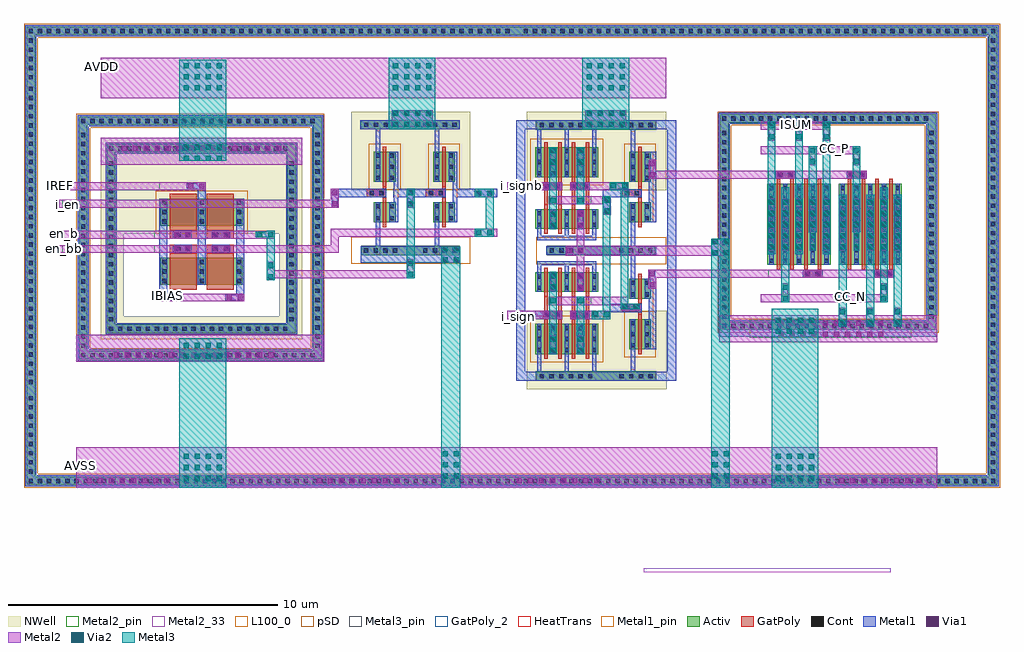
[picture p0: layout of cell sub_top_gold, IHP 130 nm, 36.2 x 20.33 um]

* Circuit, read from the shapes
.subckt sub_top_gold AVDD AVSS CC_N CC_P IBIAS IREF ISUM en_b en_bb i_en i_sign i_signb
XM1 IREF en_bb IBIAS AVSS sg13_lv_nmos w=1u l=1u m=2
XM2 en_b i_en AVSS AVSS sg13_lv_nmos w=0.74u l=0.13u
XM3 en_bb en_b AVSS AVSS sg13_lv_nmos w=0.74u l=0.13u
XM4 non_overlap_gold_25/xa i_sign n1 AVSS sg13_lv_nmos w=0.72u l=0.13u m=2
XM5 non_overlap_gold_25/xb i_signb n2 AVSS sg13_lv_nmos w=0.72u l=0.13u m=2
XM6 AVSS non_overlap_gold_25/xb n1 AVSS sg13_lv_nmos w=0.72u l=0.13u m=2
XM7 AVSS non_overlap_gold_25/xa n2 AVSS sg13_lv_nmos w=0.72u l=0.13u m=2
XM8 n3 non_overlap_gold_25/xa AVSS AVSS sg13_lv_nmos w=0.74u l=0.13u
XM9 n4 non_overlap_gold_25/xb AVSS AVSS sg13_lv_nmos w=0.74u l=0.13u
XM10 CC_N n4 ISUM AVSS sg13_lv_nmos w=3u l=0.13u m=2
XM11 CC_P n3 ISUM AVSS sg13_lv_nmos w=3u l=0.13u m=2
XM12 CC_P n4 AVSS AVSS sg13_lv_nmos w=3u l=0.13u m=2
XM13 CC_N n3 AVSS AVSS sg13_lv_nmos w=3u l=0.13u m=2
XM14 IREF en_b IBIAS AVDD sg13_lv_pmos w=1u l=1u m=2
XM15 en_b i_en AVDD AVDD sg13_lv_pmos w=1.12u l=0.13u
XM16 en_bb en_b AVDD AVDD sg13_lv_pmos w=1.12u l=0.13u
XM17 non_overlap_gold_25/xa i_sign AVDD AVDD sg13_lv_pmos w=1.12u l=0.13u m=2
XM18 non_overlap_gold_25/xb i_signb AVDD AVDD sg13_lv_pmos w=1.12u l=0.13u m=2
XM19 non_overlap_gold_25/xa non_overlap_gold_25/xb AVDD AVDD sg13_lv_pmos w=1.12u l=0.13u m=2
XM20 non_overlap_gold_25/xb non_overlap_gold_25/xa AVDD AVDD sg13_lv_pmos w=1.12u l=0.13u m=2
XM21 n3 non_overlap_gold_25/xa AVDD AVDD sg13_lv_pmos w=1.12u l=0.13u
XM22 n4 non_overlap_gold_25/xb AVDD AVDD sg13_lv_pmos w=1.12u l=0.13u
.ends

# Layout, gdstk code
from math import pi, radians
import gdstk
lib = gdstk.Library(unit=1e-6, precision=1e-09)
def R(c, l, rs):  # rectangles x0, y0, x1, y1
    for r in rs: c.add(gdstk.rectangle(r[:2], r[2:], *l))
def A(c, l, x, y, w, h, nx, ny, dx, dy):  # array of equal rectangles
    R(c, l, [(x+i*dx, y+j*dy, x+i*dx+w, y+j*dy+h) for i in range(nx) for j in range(ny)])
def P(c, l, *ps):  # polygons
    for p in ps: c.add(gdstk.Polygon(p, *l))
Activ = (1, 0)
GatPoly = (5, 0)
GatPoly_2 = (5, 2)
Cont = (6, 0)
Metal1 = (8, 0)
Metal1_pin = (8, 2)
Metal2 = (10, 0)
Metal2_pin = (10, 2)
Metal2_33 = (10, 33)
pSD = (14, 0)
Via1 = (19, 0)
Via2 = (29, 0)
Metal3 = (30, 0)
Metal3_pin = (30, 2)
NWell = (31, 0)
HeatTrans = (51, 0)
L100_0 = (100, 0)

via_stack_6 = lib.new_cell('via_stack$6')
R(via_stack_6, Metal2, [(-0.1,-0.35,0.1,0.35)])
R(via_stack_6, Via2, [(-0.095,-0.3,0.095,-0.11), (-0.095,0.11,0.095,0.3)])
R(via_stack_6, Metal3, [(-0.1,-0.35,0.1,0.35)])

via_stack_14 = lib.new_cell('via_stack$14')
R(via_stack_14, Metal1, [(-0.105,-0.35,0.105,0.35)])
R(via_stack_14, Metal2, [(-0.1,-0.35,0.1,0.35)])
R(via_stack_14, Via1, [(-0.095,-0.3,0.095,-0.11), (-0.095,0.11,0.095,0.3)])
R(via_stack_14, Via2, [(-0.095,-0.3,0.095,-0.11), (-0.095,0.11,0.095,0.3)])
R(via_stack_14, Metal3, [(-0.1,-0.35,0.1,0.35)])

via_stack_5 = lib.new_cell('via_stack$5')
R(via_stack_5, Metal2, [(-0.35,-0.1,0.35,0.1)])
R(via_stack_5, Via2, [(-0.3,-0.095,-0.11,0.095), (0.11,-0.095,0.3,0.095)])
R(via_stack_5, Metal3, [(-0.35,-0.1,0.35,0.1)])

via_stack_21 = lib.new_cell('via_stack$21')
R(via_stack_21, Metal2, [(-0.305,-0.555,0.305,0.555)])
A(via_stack_21, Via2, -0.3, -0.505, 0.19, 0.19, 1, 3, 0, 0.41)
A(via_stack_21, Via2, 0.11, -0.505, 0.19, 0.19, 1, 3, 0, 0.41)
R(via_stack_21, Metal3, [(-0.305,-0.555,0.305,0.555)])

via_stack_18 = lib.new_cell('via_stack$18')
R(via_stack_18, Metal1, [(-0.35,-0.105,0.35,0.105)])
R(via_stack_18, Metal2, [(-0.35,-0.1,0.35,0.1)])
R(via_stack_18, Via1, [(-0.3,-0.095,-0.11,0.095), (0.11,-0.095,0.3,0.095)])
R(via_stack_18, Via2, [(-0.3,-0.095,-0.11,0.095), (0.11,-0.095,0.3,0.095)])
R(via_stack_18, Metal3, [(-0.35,-0.1,0.35,0.1)])

via_stack_1 = lib.new_cell('via_stack$1')
R(via_stack_1, Metal1, [(-3.015,-0.105,3.015,0.105)])
R(via_stack_1, Metal2, [(-3.015,-0.1,3.015,0.1)])
A(via_stack_1, Via1, -2.965, -0.095, 0.19, 0.19, 15, 1, 0.41, 0)

via_stack_2 = lib.new_cell('via_stack$2')
R(via_stack_2, Metal1, [(-0.35,-0.105,0.35,0.105)])
R(via_stack_2, Metal2, [(-0.35,-0.1,0.35,0.1)])
R(via_stack_2, Via1, [(-0.3,-0.095,-0.11,0.095), (0.11,-0.095,0.3,0.095)])

pmos = lib.new_cell('pmos')
R(pmos, Activ, [(0,0,0.3,0.3), (0,0,1.68,1), (1.38,0,1.68,0.3)])
R(pmos, GatPoly, [(0.34,-0.18,1.34,1.18), (0.34,-0.18,1.34,1.18)])
A(pmos, Cont, 0.07, 0.07, 0.16, 0.16, 1, 3, 0, 0.35)
A(pmos, Cont, 1.45, 0.07, 0.16, 0.16, 1, 3, 0, 0.35)
R(pmos, Metal1, [(0.07,0,0.23,1), (0.07,0,0.23,1), (1.45,0,1.61,1), (1.45,0,1.61,1)])
R(pmos, pSD, [(-0.18,-0.3,1.86,1.3)])
R(pmos, NWell, [(-0.31,-0.31,1.99,1.31)])
R(pmos, HeatTrans, [(0.34,-0.18,1.34,1.18)])
pmos.add(gdstk.Label('pmos', (0.84,0.5), layer=63, texttype=0))
pmos.add(gdstk.Label('pmos', (0.84,0.5), layer=51, texttype=0))

nmos = lib.new_cell('nmos')
R(nmos, Activ, [(0,0,0.3,0.3), (0,0,1.68,1), (1.38,0,1.68,0.3)])
R(nmos, GatPoly, [(0.34,-0.18,1.34,1.18)])
R(nmos, GatPoly_2, [(0.34,-0.18,1.34,1.18)])
A(nmos, Cont, 0.07, 0.07, 0.16, 0.16, 1, 3, 0, 0.35)
A(nmos, Cont, 1.45, 0.07, 0.16, 0.16, 1, 3, 0, 0.35)
R(nmos, Metal1, [(0.07,0,0.23,1), (1.45,0,1.61,1)])
R(nmos, Metal1_pin, [(0.07,0,0.23,1), (1.45,0,1.61,1)])
R(nmos, HeatTrans, [(0.34,-0.18,1.34,1.18)])
nmos.add(gdstk.Label('nmos', (0.84,0.5), layer=63, texttype=0))
nmos.add(gdstk.Label('nmos', (0.84,0.5), layer=51, texttype=0))

tgate_gold = lib.new_cell('tgate_gold')
P(tgate_gold, Activ, [(-7.265,-36.38),(-7.265,-27.69),(-6.955,-27.69),(-6.955,-36.07),(1.425,-36.07),(1.425,-27.69),(-7.265,-27.69),(-7.265,-27.38),(1.735,-27.38),(1.735,-36.38)],
  [(-6.23,-35.4),(-6.23,-28.71),(-5.92,-28.71),(-5.92,-35.09),(0.46,-35.09),(0.46,-28.71),(-6.23,-28.71),(-6.23,-28.4),(0.77,-28.4),(0.77,-35.4)])
R(tgate_gold, GatPoly, [(-3.91,-32.445,-2.91,-32.135), (-2.53,-32.445,-1.53,-32.135), (-3.91,-31.915,-2.91,-31.605), (-2.53,-31.915,-1.53,-31.605)])
A(tgate_gold, Cont, -7.195, -36.31, 0.16, 0.16, 26, 2, 0.34, 8.69)
A(tgate_gold, Cont, -7.195, -35.96, 0.16, 0.16, 1, 24, 0, 0.34)
A(tgate_gold, Cont, 1.495, -35.96, 0.16, 0.16, 1, 24, 0, 0.34)
A(tgate_gold, Cont, -6.16, -35.33, 0.16, 0.16, 20, 2, 0.34, 6.69)
A(tgate_gold, Cont, -6.16, -34.98, 0.16, 0.16, 1, 18, 0, 0.34)
A(tgate_gold, Cont, 0.53, -34.98, 0.16, 0.16, 1, 18, 0, 0.34)
R(tgate_gold, Cont, [(-3.665,-32.37,-3.505,-32.21), (-3.665,-32.37,-3.505,-32.21), (-3.305,-32.37,-3.145,-32.21), (-3.305,-32.37,-3.145,-32.21), (-2.265,-32.37,-2.105,-32.21), (-2.265,-32.37,-2.105,-32.21), (-1.905,-32.37,-1.745,-32.21), (-1.905,-32.37,-1.745,-32.21), (-3.665,-31.84,-3.505,-31.68), (-3.665,-31.84,-3.505,-31.68), (-3.305,-31.84,-3.145,-31.68), (-3.305,-31.84,-3.145,-31.68), (-2.265,-31.84,-2.105,-31.68), (-2.265,-31.84,-2.105,-31.68), (-1.905,-31.84,-1.745,-31.68), (-1.905,-31.84,-1.745,-31.68)])
R(tgate_gold, Metal1, [(-3.72,-32.445,-3.09,-32.135), (-2.32,-32.445,-1.69,-32.135), (-3.72,-31.915,-3.09,-31.605), (-2.32,-31.915,-1.69,-31.605)])
P(tgate_gold, Metal1, [(-7.315,-36.43),(-7.315,-27.74),(-6.905,-27.74),(-6.905,-36.02),(1.375,-36.02),(1.375,-27.74),(-7.315,-27.74),(-7.315,-27.33),(1.785,-27.33),(1.785,-36.43)],
  [(-6.28,-35.45),(-6.28,-28.76),(-5.87,-28.76),(-5.87,-35.04),(0.41,-35.04),(0.41,-28.76),(-6.28,-28.76),(-6.28,-28.35),(0.82,-28.35),(0.82,-35.45)])
R(tgate_gold, Metal2_pin, [(-7.365,-36.48,1.835,-35.48), (-4.295,-34.235,-1.145,-33.945), (-3.725,-34.235,-3.355,-33.945), (-4.78,-32.435,-4.46,-32.145), (-4.78,-31.905,-4.46,-31.615), (-4.295,-30.105,-2.575,-29.815), (-4.26,-30.105,-3.875,-29.815), (-6.47,-29.16,1.01,-28.16)])
P(tgate_gold, pSD, [(-7.365,-36.48),(-7.365,-27.79),(-6.855,-27.79),(-6.855,-35.97),(1.325,-35.97),(1.325,-27.79),(-7.365,-27.79),(-7.365,-27.28),(1.835,-27.28),(1.835,-36.48)])
R(tgate_gold, NWell, [(-6.47,-35.64,-5.61,-28.16), (-6.47,-35.64,1.01,-34.78), (0.15,-35.64,1.01,-28.16), (-6.47,-31.735,1.01,-28.16)])
P(tgate_gold, NWell, [(-6.47,-35.64),(-6.47,-28.95),(-5.68,-28.95),(-5.68,-34.85),(0.22,-34.85),(0.22,-28.95),(-6.47,-28.95),(-6.47,-28.16),(1.01,-28.16),(1.01,-35.64)])
tgate_gold.add(gdstk.FlexPath([(-4.15,-30.425),(-4.15,-34.235)], 0.29, ends="flush", simple_path=True, layer=8, datatype=0))  # Metal1
tgate_gold.add(gdstk.FlexPath([(-2.72,-29.815),(-2.72,-33.625)], 0.29, ends="flush", simple_path=True, layer=8, datatype=0))  # Metal1
tgate_gold.add(gdstk.FlexPath([(-1.29,-30.425),(-1.29,-34.235)], 0.29, ends="flush", simple_path=True, layer=8, datatype=0))  # Metal1
tgate_gold.add(gdstk.FlexPath([(-1.145,-34.09),(-4.295,-34.09)], 0.29, ends="flush", simple_path=True, layer=10, datatype=0))  # Metal2
tgate_gold.add(gdstk.FlexPath([(-1.655,-31.76),(-4.78,-31.76)], 0.29, ends="flush", simple_path=True, layer=10, datatype=0))  # Metal2
tgate_gold.add(gdstk.FlexPath([(-2.575,-29.96),(-4.295,-29.96)], 0.29, ends="flush", simple_path=True, layer=10, datatype=0))  # Metal2
tgate_gold.add(gdstk.FlexPath([(-1.655,-32.29),(-4.78,-32.29)], 0.29, ends="flush", simple_path=True, layer=10, datatype=0))  # Metal2
tgate_gold.add(gdstk.FlexPath([(-6.47,-28.66),(1.01,-28.66)], 1, ends="flush", simple_path=True, layer=10, datatype=0))  # Metal2
tgate_gold.add(gdstk.FlexPath([(-7.365,-35.98),(1.835,-35.98)], 1, ends="flush", simple_path=True, layer=10, datatype=0))  # Metal2
tgate_gold.add(gdstk.Reference(via_stack_1, (-2.725,-28.555)))
tgate_gold.add(gdstk.Reference(via_stack_2, (-2.925,-29.96)))
tgate_gold.add(gdstk.Reference(via_stack_2, (-3.435,-32.29)))
tgate_gold.add(gdstk.Reference(via_stack_2, (-3.435,-31.76)))
tgate_gold.add(gdstk.Reference(via_stack_2, (-2.005,-32.29)))
tgate_gold.add(gdstk.Reference(via_stack_2, (-2.005,-31.76)))
tgate_gold.add(gdstk.Reference(pmos, (-2.87,-31.425)))
tgate_gold.add(gdstk.Reference(nmos, (-4.25,-33.625)))
tgate_gold.add(gdstk.Reference(via_stack_2, (-3.945,-34.09)))
tgate_gold.add(gdstk.Reference(nmos, (-2.87,-33.625)))
tgate_gold.add(gdstk.Reference(pmos, (-4.25,-31.425)))
tgate_gold.add(gdstk.Reference(via_stack_2, (-1.495,-34.09)))
tgate_gold.add(gdstk.Reference(via_stack_1, (-3.02,-36.225)))
tgate_gold.add(gdstk.Label('AVDD', (-6.365,-28.275), layer=10, texttype=25))
tgate_gold.add(gdstk.Label('IBIAS', (-3.525,-34.195), layer=10, texttype=25))
tgate_gold.add(gdstk.Label('AVSS', (-5.975,-35.77), layer=10, texttype=25))
tgate_gold.add(gdstk.Label('IREF', (-4.23,-29.92), layer=10, texttype=25))

via_stack_9 = lib.new_cell('via_stack$9')
R(via_stack_9, Metal1, [(-0.105,-0.35,0.105,0.35)])
R(via_stack_9, Metal2, [(-0.1,-0.35,0.1,0.35)])
R(via_stack_9, Via1, [(-0.095,-0.3,0.095,-0.11), (-0.095,0.11,0.095,0.3)])

via_stack = lib.new_cell('via_stack')
R(via_stack, Metal1, [(-1.58,-0.105,1.58,0.105)])
R(via_stack, Metal2, [(-1.58,-0.1,1.58,0.1)])
A(via_stack, Via1, -1.53, -0.095, 0.19, 0.19, 8, 1, 0.41, 0)

via_stack_10 = lib.new_cell('via_stack$10')
R(via_stack_10, Metal1, [(-0.76,-0.31,0.76,0.31)])
R(via_stack_10, Metal2, [(-0.76,-0.305,0.76,0.305)])
A(via_stack_10, Via1, -0.71, -0.3, 0.19, 0.19, 4, 2, 0.41, 0.41)
A(via_stack_10, Via2, -0.71, -0.3, 0.19, 0.19, 4, 2, 0.41, 0.41)
R(via_stack_10, Metal3, [(-0.76,-0.305,0.76,0.305)])

via_stack_11 = lib.new_cell('via_stack$11')
R(via_stack_11, Metal2, [(-0.76,-0.51,0.76,0.51)])
A(via_stack_11, Via2, -0.71, -0.505, 0.19, 0.19, 4, 3, 0.41, 0.41)
R(via_stack_11, Metal3, [(-0.76,-0.51,0.76,0.51)])

via_stack_16 = lib.new_cell('via_stack$16')
R(via_stack_16, Metal2, [(-0.76,-0.305,0.76,0.305)])
A(via_stack_16, Via2, -0.71, -0.3, 0.19, 0.19, 4, 2, 0.41, 0.41)
R(via_stack_16, Metal3, [(-0.76,-0.305,0.76,0.305)])

via_stack_20 = lib.new_cell('via_stack$20')
R(via_stack_20, Metal2, [(-0.145,-0.1,0.145,0.1)])
R(via_stack_20, Via2, [(-0.095,-0.095,0.095,0.095)])
R(via_stack_20, Metal3, [(-0.145,-0.1,0.145,0.1)])

nmos_3 = lib.new_cell('nmos$3')
A(nmos_3, Activ, 0, 0, 0.3, 0.3, 3, 1, 0.51, 0)
R(nmos_3, Activ, [(0,0,1.32,0.72)])
R(nmos_3, GatPoly, [(0.34,-0.18,0.47,0.9), (0.85,-0.18,0.98,0.9)])
R(nmos_3, GatPoly_2, [(0.34,-0.18,0.47,0.9)])
A(nmos_3, Cont, 0.07, 0.07, 0.16, 0.16, 3, 2, 0.51, 0.42)
A(nmos_3, Metal1, 0.07, 0, 0.16, 0.72, 3, 1, 0.51, 0)
R(nmos_3, Metal1_pin, [(0.07,0,0.23,0.72), (0.58,0,0.74,0.72)])
R(nmos_3, HeatTrans, [(0.34,-0.18,0.47,0.9), (0.85,-0.18,0.98,0.9)])
nmos_3.add(gdstk.Label('nmos', (0.405,0.36), layer=63, texttype=0))
nmos_3.add(gdstk.Label('nmos', (0.405,0.36), layer=51, texttype=0))
nmos_3.add(gdstk.Label('nmos', (0.915,0.36), layer=51, texttype=0))

pmos_1 = lib.new_cell('pmos$1')
A(pmos_1, Activ, 0, 0, 0.3, 0.3, 3, 1, 0.51, 0)
R(pmos_1, Activ, [(0,0,1.32,1.12)])
R(pmos_1, GatPoly, [(0.34,-0.18,0.47,1.3), (0.34,-0.18,0.47,1.3), (0.85,-0.18,0.98,1.3)])
A(pmos_1, Cont, 0.07, 0.07, 0.16, 0.16, 3, 3, 0.51, 0.41)
R(pmos_1, Metal1, [(0.07,0,0.23,1.12), (0.07,0,0.23,1.12), (0.58,0,0.74,1.12), (0.58,0,0.74,1.12), (1.09,0,1.25,1.12)])
R(pmos_1, pSD, [(-0.18,-0.3,1.5,1.42)])
R(pmos_1, NWell, [(-0.31,-0.31,1.63,1.43)])
R(pmos_1, HeatTrans, [(0.34,-0.18,0.47,1.3), (0.85,-0.18,0.98,1.3)])
pmos_1.add(gdstk.Label('pmos', (0.405,0.56), layer=63, texttype=0))
pmos_1.add(gdstk.Label('pmos', (0.405,0.56), layer=51, texttype=0))
pmos_1.add(gdstk.Label('pmos', (0.915,0.56), layer=51, texttype=0))

nand = lib.new_cell('nand')
R(nand, Activ, [(-0.015,-2.86,1.435,-2.51), (-0.425,1.8,1.83,2.15)])
R(nand, GatPoly, [(-0.165,-0.455,0.205,-0.145), (0.195,-0.455,0.565,-0.145), (0.855,-0.455,1.225,-0.145), (1.215,-0.455,1.585,-0.145)])
A(nand, Cont, 0.09, -2.765, 0.16, 0.16, 4, 1, 0.36, 0)
A(nand, Cont, -0.28, 1.895, 0.16, 0.16, 6, 1, 0.36, 0)
R(nand, Cont, [(-0.06,-0.38,0.1,-0.22), (0.3,-0.38,0.46,-0.22), (0.96,-0.38,1.12,-0.22), (1.32,-0.38,1.48,-0.22)])
R(nand, Metal1, [(-0.03,-2.845,1.45,-2.525), (-0.165,-0.455,0.205,-0.145), (0.195,-0.455,0.565,-0.145), (0.855,-0.455,1.225,-0.145), (1.215,-0.455,1.585,-0.145), (-0.4,1.815,1.825,2.135)])
R(nand, Metal1_pin, [(-0.03,-2.845,1.45,-2.525), (-0.45,-0.455,0.565,-0.145), (-0.4,1.815,1.825,2.135)])
R(nand, Metal2, [(1.09,-2.82,1.38,-1.185), (0.68,-2.815,1.38,-2.57), (0.115,-1.895,0.34,-1.195), (0.1,0.455,0.325,1.155), (1.125,0.455,1.35,1.155)])
R(nand, Metal2_pin, [(1.62,-0.975,2.07,-0.665), (0.87,-0.395,1.57,-0.195)])
A(nand, pSD, -0.38, -3.185, 1.13, 1, 4, 1, 0.36, 0)
R(nand, NWell, [(-0.755,1.465,2.205,2.465)])
nand.add(gdstk.FlexPath([(-0.375,-2.215),(1.825,-2.215)], 0.16, ends="flush", simple_path=True, layer=8, datatype=0))  # Metal1
nand.add(gdstk.FlexPath([(1.745,-1.875),(1.745,-2.295)], 0.16, ends="flush", simple_path=True, layer=8, datatype=0))  # Metal1
nand.add(gdstk.FlexPath([(0.725,-1.875),(0.725,-2.295)], 0.16, ends="flush", simple_path=True, layer=8, datatype=0))  # Metal1
nand.add(gdstk.FlexPath([(-0.295,-1.875),(-0.295,-2.295)], 0.16, ends="flush", simple_path=True, layer=8, datatype=0))  # Metal1
nand.add(gdstk.FlexPath([(0.565,-0.3),(-0.45,-0.3)], 0.31, ends="flush", simple_path=True, layer=8, datatype=0))  # Metal1
nand.add(gdstk.FlexPath([(-0.295,0.035),(-0.295,2.135)], 0.16, ends="flush", simple_path=True, layer=8, datatype=0))  # Metal1
nand.add(gdstk.FlexPath([(0.725,0.035),(0.725,2.135)], 0.16, ends="flush", simple_path=True, layer=8, datatype=0))  # Metal1
nand.add(gdstk.FlexPath([(1.745,0.035),(1.745,2.135)], 0.16, ends="flush", simple_path=True, layer=8, datatype=0))  # Metal1
nand.add(gdstk.FlexPath([(2.07,-0.82),(0.065,-0.82)], 0.31, ends="flush", simple_path=True, layer=10, datatype=0))  # Metal2
nand.add(gdstk.FlexPath([(0.215,1.155),(0.215,-0.975)], 0.29, ends="flush", simple_path=True, layer=30, datatype=0))  # Metal3
nand.add(gdstk.FlexPath([(1.235,1.155),(1.235,-0.975)], 0.29, ends="flush", simple_path=True, layer=30, datatype=0))  # Metal3
nand.add(gdstk.FlexPath([(0.215,-1.875),(0.215,-0.665)], 0.29, ends="flush", simple_path=True, layer=30, datatype=0))  # Metal3
nand.add(gdstk.FlexPath([(-0.04,-0.975),(-0.04,-0.445)], 0.13, ends="flush", simple_path=True, layer=5, datatype=0))  # GatPoly
nand.add(gdstk.FlexPath([(0.47,-0.975),(0.47,-0.455)], 0.13, ends="flush", simple_path=True, layer=5, datatype=0))  # GatPoly
nand.add(gdstk.FlexPath([(0.98,-0.975),(0.98,-0.445)], 0.13, ends="flush", simple_path=True, layer=5, datatype=0))  # GatPoly
nand.add(gdstk.FlexPath([(1.49,-0.975),(1.49,-0.455)], 0.13, ends="flush", simple_path=True, layer=5, datatype=0))  # GatPoly
nand.add(gdstk.Reference(via_stack_9, (1.235,-1.535)))
nand.add(gdstk.Reference(via_stack_14, (0.23,-1.545)))
nand.add(gdstk.Reference(via_stack_20, (0.215,-0.82)))
nand.add(gdstk.Reference(via_stack_20, (1.235,-0.82)))
nand.add(gdstk.Reference(via_stack_14, (1.235,0.805)))
nand.add(gdstk.Reference(via_stack_14, (0.215,0.805)))
nand.add(gdstk.Reference(nmos_3, (0.575,-1.875)))
nand.add(gdstk.Reference(pmos_1, (0.575,0.035)))
nand.add(gdstk.Reference(nmos_3, (-0.445,-1.875)))
nand.add(gdstk.Reference(pmos_1, (-0.445,0.035)))
nand.add(gdstk.Reference(pmos_1, (-0.445,0.035)))
nand.add(gdstk.Reference(via_stack_9, (1.03,-2.685), rotation=pi/2))
nand.add(gdstk.Reference(via_stack_9, (1.22,-0.295), rotation=pi/2))

pmos_2 = lib.new_cell('pmos$2')
R(pmos_2, Activ, [(0,0,0.3,0.3), (0,0,0.81,1.12), (0.51,0,0.81,0.3)])
R(pmos_2, GatPoly, [(0.34,-0.18,0.47,1.3), (0.34,-0.18,0.47,1.3)])
A(pmos_2, Cont, 0.07, 0.07, 0.16, 0.16, 1, 3, 0, 0.41)
A(pmos_2, Cont, 0.58, 0.07, 0.16, 0.16, 1, 3, 0, 0.41)
R(pmos_2, Metal1, [(0.07,0,0.23,1.12), (0.07,0,0.23,1.12), (0.58,0,0.74,1.12), (0.58,0,0.74,1.12)])
R(pmos_2, pSD, [(-0.18,-0.3,0.99,1.42)])
R(pmos_2, NWell, [(-0.31,-0.31,1.12,1.43)])
R(pmos_2, HeatTrans, [(0.34,-0.18,0.47,1.3)])
pmos_2.add(gdstk.Label('pmos', (0.405,0.56), layer=63, texttype=0))
pmos_2.add(gdstk.Label('pmos', (0.405,0.56), layer=51, texttype=0))

nmos_4 = lib.new_cell('nmos$4')
R(nmos_4, Activ, [(0,0,0.3,0.3), (0,0,0.81,0.74), (0.51,0,0.81,0.3)])
R(nmos_4, GatPoly, [(0.34,-0.18,0.47,0.92)])
R(nmos_4, GatPoly_2, [(0.34,-0.18,0.47,0.92)])
R(nmos_4, Cont, [(0.07,0.07,0.23,0.23), (0.58,0.07,0.74,0.23), (0.07,0.51,0.23,0.67), (0.58,0.51,0.74,0.67)])
R(nmos_4, Metal1, [(0.07,0,0.23,0.74), (0.58,0,0.74,0.74)])
R(nmos_4, Metal1_pin, [(0.07,0,0.23,0.74), (0.58,0,0.74,0.74)])
R(nmos_4, HeatTrans, [(0.34,-0.18,0.47,0.92)])
nmos_4.add(gdstk.Label('nmos', (0.405,0.37), layer=63, texttype=0))
nmos_4.add(gdstk.Label('nmos', (0.405,0.37), layer=51, texttype=0))

inverter = lib.new_cell('inverter')
R(inverter, Activ, [(0.525,-1.72,1.975,-1.37), (0.535,2.94,1.985,3.29), (0.535,2.94,1.985,3.29)])
R(inverter, GatPoly, [(0.74,0.425,1.47,0.735)])
R(inverter, GatPoly_2, [(1.34,-0.68,1.47,2.3)])
A(inverter, Cont, 0.63, -1.625, 0.16, 0.16, 4, 1, 0.36, 0)
R(inverter, Cont, [(0.845,0.5,1.005,0.66), (1.205,0.5,1.365,0.66), (0.64,3.035,0.8,3.195), (0.64,3.035,0.8,3.195), (1,3.035,1.16,3.195), (1,3.035,1.16,3.195), (1.36,3.035,1.52,3.195), (1.36,3.035,1.52,3.195), (1.72,3.035,1.88,3.195), (1.72,3.035,1.88,3.195)])
R(inverter, Metal1, [(0.525,-1.705,2.005,-1.385), (1.74,-0.5,1.9,2.12), (0.74,0.425,1.47,0.735), (1.07,2.88,1.23,3.275), (1.07,2.88,1.23,3.275), (0.52,2.955,2,3.275), (0.52,2.955,2,3.275)])
R(inverter, Metal1_pin, [(1.07,-1.695,1.23,0.24), (1.74,-0.5,1.9,2.12), (1.74,-0.5,1.9,2.12), (0.74,0.425,1.47,0.735), (1.07,1,1.23,2.885)])
R(inverter, pSD, [(0.17,-2.045,2.38,-1.045)])
R(inverter, NWell, [(0.165,0.69,2.375,3.605)])
R(inverter, L100_0, [(1.069,-0.431,1.231,-0.269), (1.069,-0.431,1.231,-0.269), (1.579,-0.431,1.741,-0.269), (1.579,-0.431,1.741,-0.269), (1.069,0.009,1.231,0.171), (1.069,0.009,1.231,0.171), (1.579,0.009,1.741,0.171), (1.579,0.009,1.741,0.171), (1.069,1.069,1.231,1.231), (1.069,1.069,1.231,1.231), (1.579,1.069,1.741,1.231), (1.579,1.069,1.741,1.231), (1.069,1.479,1.231,1.641), (1.069,1.479,1.231,1.641), (1.579,1.479,1.741,1.641), (1.579,1.479,1.741,1.641), (1.069,1.889,1.231,2.051), (1.069,1.889,1.231,2.051), (1.579,1.889,1.741,2.051), (1.579,1.889,1.741,2.051)])
inverter.add(gdstk.FlexPath([(1.15,0.24),(1.15,-1.695)], 0.16, ends="flush", simple_path=True, layer=8, datatype=0))  # Metal1
inverter.add(gdstk.FlexPath([(1.15,2.885),(1.15,2.12)], 0.16, ends="flush", simple_path=True, layer=8, datatype=0))  # Metal1
inverter.add(gdstk.FlexPath([(1.405,0.42),(1.405,0.825)], 0.13, ends="flush", simple_path=True, layer=5, datatype=0))  # GatPoly
inverter.add(gdstk.Reference(pmos_2, (1,1)))
inverter.add(gdstk.Reference(nmos_4, (1,-0.5)))

non_overlap_gold = lib.new_cell('non_overlap_gold')
R(non_overlap_gold, Activ, [(-0.425,-7.52,4.045,-7.17), (-0.015,-2.86,4.01,-2.51), (-0.425,1.8,4.045,2.15)])
R(non_overlap_gold, Metal1, [(-0.4,-7.515,4.035,-7.185), (-0.03,-2.845,4.04,-2.525), (0.125,-1.895,0.335,-1.155), (1.13,-1.895,1.34,-1.155), (2.07,-1.365,2.35,-0.405), (0.11,0.035,0.32,1.155), (1.13,0.035,1.34,1.155), (-0.4,1.82,4.035,2.145)])
R(non_overlap_gold, Metal1_pin, [(-0.4,-7.515,4.035,-7.185), (-0.4,-5.225,0.5,-4.915), (3.615,-4.47,3.935,-3.73), (3.655,-4.415,3.89,-3.78), (-0.03,-2.845,4.04,-2.525), (3.615,-1.64,3.93,-0.9), (3.66,-1.595,3.895,-0.97), (-0.4,-0.455,0.5,-0.145), (-0.4,1.82,4.035,2.145)])
R(non_overlap_gold, Metal2, [(0.855,-5.225,2.345,-4.915), (2.725,-4.9,3.425,-4.655), (2.725,-4.86,3.015,-4.395), (0.065,-4.705,2.605,-4.395), (0.065,-4.705,3.015,-4.395), (2.055,-1.365,2.345,-0.665), (2.085,-1.365,2.31,-0.665), (0.855,-0.455,2.605,-0.145)])
R(non_overlap_gold, pSD, [(-0.41,-3.185,4.415,-2.185)])
R(non_overlap_gold, Metal3, [(0.07,-6.525,0.36,-3.475), (1.645,-5.225,2.345,-4.915), (2.055,-5.225,2.345,-0.665), (2.055,-5.225,2.345,-0.665), (2.725,-4.705,3.015,-0.145), (0.07,-1.895,0.36,1.155), (2.315,-0.455,3.015,-0.145)])
R(non_overlap_gold, NWell, [(-0.755,-7.835,4.41,-4.925), (-0.725,-7.835,4.44,-4.925), (-0.755,-0.445,4.41,2.465), (-0.755,-0.445,4.41,2.465)])
non_overlap_gold.add(gdstk.FlexPath([(3.025,-4.81),(2.315,-4.81)], 0.31, ends="flush", simple_path=True, layer=8, datatype=0))  # Metal1
non_overlap_gold.add(gdstk.FlexPath([(-0.4,-7.35),(-0.985,-7.35),(-0.985,1.98),(-0.4,1.98)], 0.33, ends="flush", simple_path=True, layer=8, datatype=0))  # Metal1
non_overlap_gold.add(gdstk.FlexPath([(4.035,-7.35),(4.62,-7.35),(4.62,1.98),(-0.755,1.98)], 0.33, ends="flush", simple_path=True, layer=8, datatype=0))  # Metal1
non_overlap_gold.add(gdstk.FlexPath([(2.78,-0.56),(2.07,-0.56)], 0.31, ends="flush", simple_path=True, layer=8, datatype=0))  # Metal1
non_overlap_gold.add(gdstk.FlexPath([(2.2,-4.55),(0.065,-4.55)], 0.31, ends="flush", simple_path=True, layer=10, datatype=0))  # Metal2
non_overlap_gold.add(gdstk.FlexPath([(2.2,-0.82),(0.065,-0.82)], 0.31, ends="flush", simple_path=True, layer=10, datatype=0))  # Metal2
non_overlap_gold.add(gdstk.Reference(via_stack_14, (2.21,-1.015)))
non_overlap_gold.add(gdstk.Reference(nand, (0,0)))
non_overlap_gold.add(gdstk.Reference(inverter, (2.035,-1.14)))
non_overlap_gold.add(gdstk.Reference(inverter, (2.035,-4.23), x_reflection=True))
non_overlap_gold.add(gdstk.Reference(nand, (0,-5.37), x_reflection=True))
non_overlap_gold.add(gdstk.Reference(via_stack_14, (3.075,-4.76), rotation=3*pi/2, x_reflection=True))
non_overlap_gold.add(gdstk.Reference(via_stack_6, (2.665,-0.285), rotation=pi/2, x_reflection=True))
non_overlap_gold.add(gdstk.Reference(via_stack_6, (1.995,-5.055), rotation=pi/2, x_reflection=True))
non_overlap_gold.add(gdstk.Label('AVSS', (1.715,-2.685), layer=8, texttype=25))
non_overlap_gold.add(gdstk.Label('AVDD', (0.485,-7.42), layer=8, texttype=25))
non_overlap_gold.add(gdstk.Label('AVDD', (0.315,1.885), layer=8, texttype=25))
non_overlap_gold.add(gdstk.Label('xb', (2.135,-3.31), layer=30, texttype=25))
non_overlap_gold.add(gdstk.Label('xa', (2.855,-3.285), layer=30, texttype=25))

via_stack_19 = lib.new_cell('via_stack$19')
R(via_stack_19, Metal1, [(-0.35,-0.31,0.35,0.31)])
R(via_stack_19, Metal2, [(-0.35,-0.305,0.35,0.305)])
R(via_stack_19, Via1, [(-0.3,-0.3,-0.11,-0.11), (0.11,-0.3,0.3,-0.11), (-0.3,0.11,-0.11,0.3), (0.11,0.11,0.3,0.3)])
R(via_stack_19, Via2, [(-0.3,-0.3,-0.11,-0.11), (0.11,-0.3,0.3,-0.11), (-0.3,0.11,-0.11,0.3), (0.11,0.11,0.3,0.3)])
R(via_stack_19, Metal3, [(-0.35,-0.305,0.35,0.305)])

nmos_2 = lib.new_cell('nmos$2')
R(nmos_2, Activ, [(0,0,0.3,0.3), (0,0,0.81,3), (0.51,0,0.81,0.3)])
R(nmos_2, GatPoly, [(0.34,-0.18,0.47,3.18)])
R(nmos_2, GatPoly_2, [(0.34,-0.18,0.47,3.18)])
A(nmos_2, Cont, 0.07, 0.07, 0.16, 0.16, 1, 7, 0, 0.385)
A(nmos_2, Cont, 0.58, 0.07, 0.16, 0.16, 1, 7, 0, 0.385)
R(nmos_2, Cont, [(0.07,2.77,0.23,2.93), (0.58,2.77,0.74,2.93)])
R(nmos_2, Metal1, [(0.07,0,0.23,3), (0.58,0,0.74,3)])
R(nmos_2, Metal1_pin, [(0.07,0,0.23,3), (0.58,0,0.74,3)])
R(nmos_2, HeatTrans, [(0.34,-0.18,0.47,3.18)])
nmos_2.add(gdstk.Label('nmos', (0.405,1.5), layer=63, texttype=0))
nmos_2.add(gdstk.Label('nmos', (0.405,1.5), layer=51, texttype=0))

via_stack_13 = lib.new_cell('via_stack$13')
R(via_stack_13, Metal1, [(-0.105,-0.965,0.105,0.965)])
R(via_stack_13, Metal2, [(-0.1,-0.965,0.1,0.965)])
A(via_stack_13, Via1, -0.095, -0.915, 0.19, 0.19, 1, 5, 0, 0.41)
A(via_stack_13, Via2, -0.095, -0.915, 0.19, 0.19, 1, 5, 0, 0.41)
R(via_stack_13, Metal3, [(-0.1,-0.965,0.1,0.965)])

guard_ring = lib.new_cell('GUARD_RING')
P(guard_ring, Activ, [(0,0),(0,7.69),(0.31,7.69),(0.31,0.31),(7.69,0.31),(7.69,7.69),(0,7.69),(0,8),(8,8),(8,0)])
A(guard_ring, Cont, 0.07, 0.07, 0.16, 0.16, 23, 2, 0.34, 7.69)
A(guard_ring, Cont, 0.07, 0.42, 0.16, 0.16, 1, 21, 0, 0.34)
A(guard_ring, Cont, 7.76, 0.42, 0.16, 0.16, 1, 21, 0, 0.34)
P(guard_ring, Metal1, [(-0.05,-0.05),(-0.05,7.64),(0.36,7.64),(0.36,0.36),(7.64,0.36),(7.64,7.64),(-0.05,7.64),(-0.05,8.05),(8.05,8.05),(8.05,-0.05)])
P(guard_ring, pSD, [(-0.1,-0.1),(-0.1,7.59),(0.41,7.59),(0.41,0.41),(7.59,0.41),(7.59,7.59),(-0.1,7.59),(-0.1,8.1),(8.1,8.1),(8.1,-0.1)])

via_stack_12 = lib.new_cell('via_stack$12')
R(via_stack_12, Metal1, [(-1.99,-0.31,1.99,0.31)])
R(via_stack_12, Metal2, [(-1.99,-0.305,1.99,0.305)])
A(via_stack_12, Via1, -1.94, -0.3, 0.19, 0.19, 10, 2, 0.41, 0.41)

dsw = lib.new_cell('dsw')
R(dsw, GatPoly, [(1.48,0.625,1.85,0.935), (1.84,0.625,2.21,0.935), (4.125,0.625,4.495,0.935), (4.485,0.625,4.855,0.935), (0.46,4.295,0.83,4.605), (0.82,4.295,1.19,4.605), (3.1,4.295,3.47,4.605), (3.46,4.295,3.83,4.605)])
R(dsw, Cont, [(1.585,0.7,1.745,0.86), (1.945,0.7,2.105,0.86), (4.23,0.7,4.39,0.86), (4.59,0.7,4.75,0.86), (0.565,4.37,0.725,4.53), (0.925,4.37,1.085,4.53), (3.205,4.37,3.365,4.53), (3.565,4.37,3.725,4.53)])
R(dsw, Metal1, [(-1.635,-1.565,6.465,-0.955), (1.48,0.625,1.85,0.935), (1.84,0.625,2.21,0.935), (4.125,0.625,4.495,0.935), (4.485,0.625,4.855,0.935), (0.46,4.295,0.83,4.605), (0.82,4.295,1.19,4.605), (3.1,4.295,3.47,4.605), (3.46,4.295,3.83,4.605)])
R(dsw, Metal2_pin, [(-0.5,-1.6,5.5,-0.9), (-0.09,-0.275,4.63,0.015), (0.2,0.635,4.865,0.925), (0.2,4.305,3.84,4.595), (-0.09,5.215,3.61,5.505), (-0.09,6.125,2.5,6.415)])
dsw.add(gdstk.FlexPath([(-1.63,-1.255),(6.47,-1.255)], 1, ends="flush", simple_path=True, layer=10, datatype=0))  # Metal2
dsw.add(gdstk.FlexPath([(0.2,0.78),(4.865,0.78)], 0.29, ends="flush", simple_path=True, layer=10, datatype=0))  # Metal2
dsw.add(gdstk.FlexPath([(-0.09,-1.04),(5.14,-1.04)], 0.29, ends="flush", simple_path=True, layer=10, datatype=0))  # Metal2
dsw.add(gdstk.FlexPath([(-0.09,5.36),(3.61,5.36)], 0.29, ends="flush", simple_path=True, layer=10, datatype=0))  # Metal2
dsw.add(gdstk.FlexPath([(-0.09,6.27),(2.5,6.27)], 0.29, ends="flush", simple_path=True, layer=10, datatype=0))  # Metal2
dsw.add(gdstk.FlexPath([(0.2,4.45),(3.84,4.45)], 0.29, ends="flush", simple_path=True, layer=10, datatype=0))  # Metal2
dsw.add(gdstk.FlexPath([(-0.09,-0.13),(4.63,-0.13)], 0.29, ends="flush", simple_path=True, layer=10, datatype=0))  # Metal2
dsw.add(gdstk.FlexPath([(0.315,1.5),(0.315,6.415)], 0.29, ends="flush", simple_path=True, layer=30, datatype=0))  # Metal3
dsw.add(gdstk.FlexPath([(0.825,-0.275),(0.825,3.995)], 0.29, ends="flush", simple_path=True, layer=30, datatype=0))  # Metal3
dsw.add(gdstk.FlexPath([(1.335,1.5),(1.335,6.415)], 0.29, ends="flush", simple_path=True, layer=30, datatype=0))  # Metal3
dsw.add(gdstk.FlexPath([(2.355,1.5),(2.355,6.415)], 0.29, ends="flush", simple_path=True, layer=30, datatype=0))  # Metal3
dsw.add(gdstk.FlexPath([(1.845,2.315),(1.845,5.505)], 0.29, ends="flush", simple_path=True, layer=30, datatype=0))  # Metal3
dsw.add(gdstk.FlexPath([(2.955,-1.185),(2.955,3.71)], 0.29, ends="flush", simple_path=True, layer=30, datatype=0))  # Metal3
dsw.add(gdstk.FlexPath([(3.465,2.315),(3.465,5.505)], 0.29, ends="flush", simple_path=True, layer=30, datatype=0))  # Metal3
dsw.add(gdstk.FlexPath([(3.975,-1.185),(3.975,3.71)], 0.29, ends="flush", simple_path=True, layer=30, datatype=0))  # Metal3
dsw.add(gdstk.FlexPath([(4.995,-1.185),(4.995,3.71)], 0.29, ends="flush", simple_path=True, layer=30, datatype=0))  # Metal3
dsw.add(gdstk.FlexPath([(4.485,-0.275),(4.485,3.995)], 0.29, ends="flush", simple_path=True, layer=30, datatype=0))  # Metal3
dsw.add(gdstk.Reference(nmos_2, (0.165,1.115)))
dsw.add(gdstk.Reference(nmos_2, (0.675,1.115)))
dsw.add(gdstk.Reference(nmos_2, (0.165,1.115)))
dsw.add(gdstk.Reference(nmos_2, (1.185,1.115)))
dsw.add(gdstk.Reference(nmos_2, (1.695,1.115)))
dsw.add(gdstk.Reference(via_stack_13, (4.485,2.605)))
dsw.add(gdstk.Reference(nmos_2, (1.185,1.115)))
dsw.add(gdstk.Reference(nmos_2, (0.675,1.115)))
dsw.add(gdstk.Reference(nmos_2, (2.805,1.115)))
dsw.add(gdstk.Reference(via_stack_13, (3.975,2.605)))
dsw.add(gdstk.Reference(via_stack_13, (3.465,2.605)))
dsw.add(gdstk.Reference(via_stack_13, (2.955,2.605)))
dsw.add(gdstk.Reference(via_stack_13, (0.315,2.605)))
dsw.add(gdstk.Reference(via_stack_13, (0.825,2.605)))
dsw.add(gdstk.Reference(via_stack_13, (1.335,2.605)))
dsw.add(gdstk.Reference(via_stack_13, (1.845,2.605)))
dsw.add(gdstk.Reference(via_stack_13, (2.355,2.605)))
dsw.add(gdstk.Reference(via_stack_2, (1.845,0.78)))
dsw.add(gdstk.Reference(via_stack_2, (0.825,4.45)))
dsw.add(gdstk.Reference(via_stack_2, (3.465,4.45)))
dsw.add(gdstk.Reference(via_stack_2, (4.49,0.78)))
dsw.add(gdstk.Reference(via_stack_6, (1.845,5.155)))
dsw.add(gdstk.Reference(via_stack_6, (0.315,6.065)))
dsw.add(gdstk.Reference(via_stack_6, (2.955,-0.835)))
dsw.add(gdstk.Reference(via_stack_6, (0.825,0.075)))
dsw.add(gdstk.Reference(via_stack_13, (4.995,2.605)))
dsw.add(gdstk.Reference(nmos_2, (4.335,1.115)))
dsw.add(gdstk.Reference(nmos_2, (3.825,1.115)))
dsw.add(gdstk.Reference(nmos_2, (3.315,1.115)))
dsw.add(gdstk.Reference(via_stack_6, (1.335,6.065)))
dsw.add(gdstk.Reference(via_stack_6, (2.355,6.065)))
dsw.add(gdstk.Reference(via_stack_6, (3.465,5.155)))
dsw.add(gdstk.Reference(via_stack_6, (3.975,-0.835)))
dsw.add(gdstk.Reference(via_stack_6, (4.995,-0.835)))
dsw.add(gdstk.Reference(via_stack_6, (4.485,0.075)))
dsw.add(gdstk.Reference(guard_ring, (-1.585,-1.305)))
dsw.add(gdstk.Reference(via_stack_12, (2.52,-1.255)))
dsw.add(gdstk.Label('ISUM', (-0.045,6.165), layer=10, texttype=25))
dsw.add(gdstk.Label('AVSS', (-0.06,-1.12), layer=10, texttype=25))

sub_top_gold = lib.new_cell('sub_top_gold')
R(sub_top_gold, Activ, [(3.19,-32.605,6.85,-32.255), (3.185,-27.945,6.845,-27.595)])
P(sub_top_gold, Activ, [(-9.21,-41.13),(-9.21,-24.44),(-8.9,-24.44),(-8.9,-40.82),(26.48,-40.82),(26.48,-24.44),(-9.21,-24.44),(-9.21,-24.13),(26.79,-24.13),(26.79,-41.13)])
A(sub_top_gold, Cont, -9.14, -41.06, 0.16, 0.16, 106, 1, 0.34, 0)
A(sub_top_gold, Cont, -9.14, -40.71, 0.16, 0.16, 1, 9, 0, 0.34)
A(sub_top_gold, Cont, 26.55, -40.71, 0.16, 0.16, 1, 48, 0, 0.34)
A(sub_top_gold, Cont, -9.14, -37.395, 0.16, 0.16, 1, 33, 0, 0.34)
A(sub_top_gold, Cont, -9.14, -26.09, 0.16, 0.16, 1, 5, 0, 0.34)
A(sub_top_gold, Cont, -9.14, -24.37, 0.16, 0.16, 53, 1, 0.34, 0)
A(sub_top_gold, Cont, 9.22, -24.37, 0.16, 0.16, 52, 1, 0.34, 0)
R(sub_top_gold, Metal1, [(13.87,-36.1,14.135,-33.48), (3.175,-32.89,6.865,-32.27), (3.175,-32.59,6.865,-32.27), (13.87,-31.39,14.135,-28.77), (3.17,-27.93,6.86,-27.61)])
P(sub_top_gold, Metal1, [(-9.26,-41.185),(-9.26,-24.495),(-8.85,-24.495),(-8.85,-40.775),(26.43,-40.775),(26.43,-24.495),(-9.26,-24.495),(-9.26,-24.085),(26.84,-24.085),(26.84,-41.185)])
R(sub_top_gold, Metal2, [(8.61,-34.975,10.66,-34.665), (13.845,-33.85,14.135,-33.15), (10.78,-32.62,16.67,-32.25), (2.07,-32.525,2.36,-31.825), (2.07,-31.915,8.235,-31.625), (2.07,-30.85,2.36,-30.15), (4.885,-30.85,5.175,-30.15), (7.41,-30.46,8.11,-30.15), (8.61,-30.205,10.66,-29.895), (13.87,-29.77,14.135,-29.07)])
R(sub_top_gold, Metal2_pin, [(-7.365,-41.23,24.565,-39.73), (8.61,-34.975,10.66,-34.665), (21.19,-34.35,21.545,-34.06), (-4.045,-34.32,-3.675,-34.03), (-7.885,-32.52,-7.46,-32.23), (-7.885,-32.52,-4.46,-32.23), (-7.885,-31.99,-7.46,-31.7), (-7.885,-31.99,-4.46,-31.7), (-7.885,-30.85,-7.46,-30.56), (8.61,-30.205,10.66,-29.895), (-7.995,-30.19,-7.61,-29.9), (20.77,-28.86,21.305,-28.57), (-6.47,-26.78,14.515,-25.28)])
R(sub_top_gold, Metal2_33, [(13.675,-44.36,22.83,-44.215)])
P(sub_top_gold, pSD, [(-9.31,-41.23),(-9.31,-24.54),(-8.8,-24.54),(-8.8,-40.72),(26.38,-40.72),(26.38,-24.54),(-9.31,-24.54),(-9.31,-24.03),(26.89,-24.03),(26.89,-41.23)])
R(sub_top_gold, Metal3, [(6.165,-41.23,6.865,-32.27), (16.175,-41.23,16.875,-32.27), (7.41,-31.915,8.11,-31.625), (7.82,-31.915,8.11,-30.15), (7.41,-30.46,8.11,-30.15)])
R(sub_top_gold, Metal3_pin, [(19.29,-28.03,19.58,-27.685)])
sub_top_gold.add(gdstk.FlexPath([(3.495,-30.305),(2.07,-30.305)], 0.31, ends="flush", simple_path=True, layer=8, datatype=0))  # Metal1
sub_top_gold.add(gdstk.FlexPath([(5.665,-30.305),(4.39,-30.305)], 0.31, ends="flush", simple_path=True, layer=8, datatype=0))  # Metal1
sub_top_gold.add(gdstk.FlexPath([(8.235,-30.305),(6.6,-30.305)], 0.31, ends="flush", simple_path=True, layer=8, datatype=0))  # Metal1
sub_top_gold.add(gdstk.FlexPath([(-7.995,-31.845),(-2.135,-31.845)], 0.29, ends="flush", simple_path=True, layer=10, datatype=0))  # Metal2
sub_top_gold.add(gdstk.FlexPath([(18.485,-33.295),(13.88,-33.295)], 0.29, ends="flush", simple_path=True, layer=10, datatype=0))  # Metal2
sub_top_gold.add(gdstk.FlexPath([(21.34,-34.205),(21.875,-34.205)], 0.29, ends="flush", simple_path=True, layer=10, datatype=0))  # Metal2
sub_top_gold.add(gdstk.FlexPath([(20.77,-28.715),(21.305,-28.715)], 0.29, ends="flush", simple_path=True, layer=10, datatype=0))  # Metal2
sub_top_gold.add(gdstk.FlexPath([(-1.655,-30.705),(-4.78,-30.705)], 0.29, ends="flush", simple_path=True, layer=10, datatype=0))  # Metal2
sub_top_gold.add(gdstk.FlexPath([(-1.985,-30.705),(2.36,-30.705)], 0.29, ends="flush", simple_path=True, layer=10, datatype=0))  # Metal2
sub_top_gold.add(gdstk.FlexPath([(-7.995,-30.705),(-4.38,-30.705)], 0.29, ends="flush", simple_path=True, layer=10, datatype=0))  # Metal2
sub_top_gold.add(gdstk.FlexPath([(-1.985,-32.38),(2.36,-32.38)], 0.29, ends="flush", simple_path=True, layer=10, datatype=0))  # Metal2
sub_top_gold.add(gdstk.FlexPath([(-7.995,-30.045),(-4,-30.045)], 0.29, ends="flush", simple_path=True, layer=10, datatype=0))  # Metal2
sub_top_gold.add(gdstk.FlexPath([(-1.985,-31.845),(-0.015,-31.845)], 0.29, ends="flush", simple_path=True, layer=10, datatype=0))  # Metal2
sub_top_gold.add(gdstk.FlexPath([(-7.995,-32.375),(-2.135,-32.375)], 0.29, ends="flush", simple_path=True, layer=10, datatype=0))  # Metal2
sub_top_gold.add(gdstk.FlexPath([(3.89,-31.77),(8.235,-31.77)], 0.29, ends="flush", simple_path=True, layer=10, datatype=0))  # Metal2
sub_top_gold.add(gdstk.FlexPath([(18.595,-33.295),(15.45,-33.295)], 0.29, ends="flush", simple_path=True, layer=10, datatype=0))  # Metal2
sub_top_gold.add(gdstk.FlexPath([(-7.365,-40.48),(24.565,-40.48)], 1.5, ends="flush", simple_path=True, layer=10, datatype=0))  # Metal2
sub_top_gold.add(gdstk.FlexPath([(18.485,-29.625),(13.88,-29.625)], 0.29, ends="flush", simple_path=True, layer=10, datatype=0))  # Metal2
sub_top_gold.add(gdstk.FlexPath([(18.3,-29.625),(21.94,-29.625)], 0.29, ends="flush", simple_path=True, layer=10, datatype=0))  # Metal2
sub_top_gold.add(gdstk.FlexPath([(18.3,-33.295),(22.965,-33.295)], 0.29, ends="flush", simple_path=True, layer=10, datatype=0))  # Metal2
sub_top_gold.add(gdstk.FlexPath([(-6.47,-26.03),(14.515,-26.03)], 1.5, ends="flush", simple_path=True, layer=10, datatype=0))  # Metal2
sub_top_gold.add(gdstk.FlexPath([(-0.305,-33.315),(5.175,-33.315)], 0.29, ends="flush", simple_path=True, layer=10, datatype=0))  # Metal2
sub_top_gold.add(gdstk.FlexPath([(-0.16,-33.545),(-0.16,-31.7)], 0.29, ends="flush", simple_path=True, layer=30, datatype=0))  # Metal3
sub_top_gold.add(gdstk.FlexPath([(5.03,-33.46),(5.03,-30.15)], 0.29, ends="flush", simple_path=True, layer=30, datatype=0))  # Metal3
sub_top_gold.add(gdstk.FlexPath([(-2.68,-41.23),(-2.68,-35.685)], 1.73, ends="flush", simple_path=True, layer=30, datatype=0))  # Metal3
sub_top_gold.add(gdstk.FlexPath([(5.085,-25.28),(5.085,-27.93)], 1.73, ends="flush", simple_path=True, layer=30, datatype=0))  # Metal3
sub_top_gold.add(gdstk.FlexPath([(19.285,-41.23),(19.285,-34.59)], 1.73, ends="flush", simple_path=True, layer=30, datatype=0))  # Metal3
sub_top_gold.add(gdstk.FlexPath([(12.265,-25.28),(12.265,-27.93)], 1.73, ends="flush", simple_path=True, layer=30, datatype=0))  # Metal3
sub_top_gold.add(gdstk.FlexPath([(-2.68,-25.365),(-2.68,-29.1)], 1.73, ends="flush", simple_path=True, layer=30, datatype=0))  # Metal3
sub_top_gold.add(gdstk.Reference(via_stack_6, (5.03,-33.11)))
sub_top_gold.add(gdstk.Reference(via_stack_14, (5.03,-30.5)))
sub_top_gold.add(gdstk.Reference(via_stack_5, (7.76,-31.77)))
sub_top_gold.add(gdstk.Reference(via_stack_21, (6.515,-40.385)))
sub_top_gold.add(gdstk.Reference(via_stack_18, (7.76,-30.315)))
sub_top_gold.add(gdstk.Reference(tgate_gold, (0,-0.085)))
sub_top_gold.add(gdstk.Reference(via_stack_9, (2.215,-30.5)))
sub_top_gold.add(gdstk.Reference(via_stack_9, (13.99,-29.42)))
sub_top_gold.add(gdstk.Reference(via_stack, (3.07,-40.975)))
sub_top_gold.add(gdstk.Reference(via_stack_9, (13.99,-33.5)))
sub_top_gold.add(gdstk.Reference(via_stack_10, (12.265,-27.545)))
sub_top_gold.add(gdstk.Reference(via_stack_11, (12.265,-25.99)))
sub_top_gold.add(gdstk.Reference(via_stack_10, (5.085,-27.545)))
sub_top_gold.add(gdstk.Reference(via_stack_11, (5.085,-25.99)))
sub_top_gold.add(gdstk.Reference(via_stack_11, (-2.68,-25.99)))
sub_top_gold.add(gdstk.Reference(via_stack_16, (-2.68,-28.8)))
sub_top_gold.add(gdstk.Reference(via_stack_6, (-0.16,-33.195)))
sub_top_gold.add(gdstk.Reference(via_stack_5, (-0.365,-31.845)))
sub_top_gold.add(gdstk.Reference(via_stack_16, (-2.68,-36.155), x_reflection=True))
sub_top_gold.add(gdstk.Reference(via_stack, (-5.455,-40.975)))
sub_top_gold.add(gdstk.Reference(via_stack_11, (-2.68,-40.48)))
sub_top_gold.add(gdstk.Reference(via_stack_16, (19.285,-35.225), x_reflection=True))
sub_top_gold.add(gdstk.Reference(via_stack, (10.495,-40.975)))
sub_top_gold.add(gdstk.Reference(via_stack, (22.445,-40.975)))
sub_top_gold.add(gdstk.Reference(via_stack_11, (19.285,-40.48)))
sub_top_gold.add(gdstk.Reference(non_overlap_gold, (10.095,-29.75)))
sub_top_gold.add(gdstk.Reference(via_stack_19, (6.515,-32.58)))
sub_top_gold.add(gdstk.Reference(via_stack_21, (16.525,-40.385)))
sub_top_gold.add(gdstk.Reference(via_stack_19, (16.525,-32.31)))
sub_top_gold.add(gdstk.Reference(via_stack_9, (10.285,-30.045), rotation=pi/2))
sub_top_gold.add(gdstk.Reference(via_stack_9, (10.285,-34.82), rotation=pi/2))
sub_top_gold.add(gdstk.Reference(inverter, (4.86,-30.885)))
sub_top_gold.add(gdstk.Reference(inverter, (2.665,-30.885)))
sub_top_gold.add(gdstk.Reference(dsw, (18.1,-34.075)))
sub_top_gold.add(gdstk.Label('i_en', (-7.71,-30.73), layer=10, texttype=25))
sub_top_gold.add(gdstk.Label('en_b', (-7.82,-31.795), layer=10, texttype=25))
sub_top_gold.add(gdstk.Label('en_bb', (-7.82,-32.355), layer=10, texttype=25))
sub_top_gold.add(gdstk.Label('i_sign', (9.04,-34.885), layer=10, texttype=25))
sub_top_gold.add(gdstk.Label('i_signb', (9.125,-30.04), layer=10, texttype=25))
sub_top_gold.add(gdstk.Label('IBIAS', (-3.98,-34.115), layer=10, texttype=25))
sub_top_gold.add(gdstk.Label('CC_N', (21.34,-34.145), layer=10, texttype=25))
sub_top_gold.add(gdstk.Label('CC_P', (20.77,-28.655), layer=10, texttype=25))
sub_top_gold.add(gdstk.Label('IREF', (-7.95,-30.03), layer=10, texttype=25))
sub_top_gold.add(gdstk.Label('en_bb', (7.865,-30.365), layer=10, texttype=25))
sub_top_gold.add(gdstk.Label('AVDD', (-6.445,-25.62), layer=10, texttype=25))
sub_top_gold.add(gdstk.Label('AVSS', (-7.21,-40.39), layer=10, texttype=25))
sub_top_gold.add(gdstk.Label('ISUM', (19.325,-27.745), layer=30, texttype=25))

lib.write_gds('sub_top_gold.gds')
